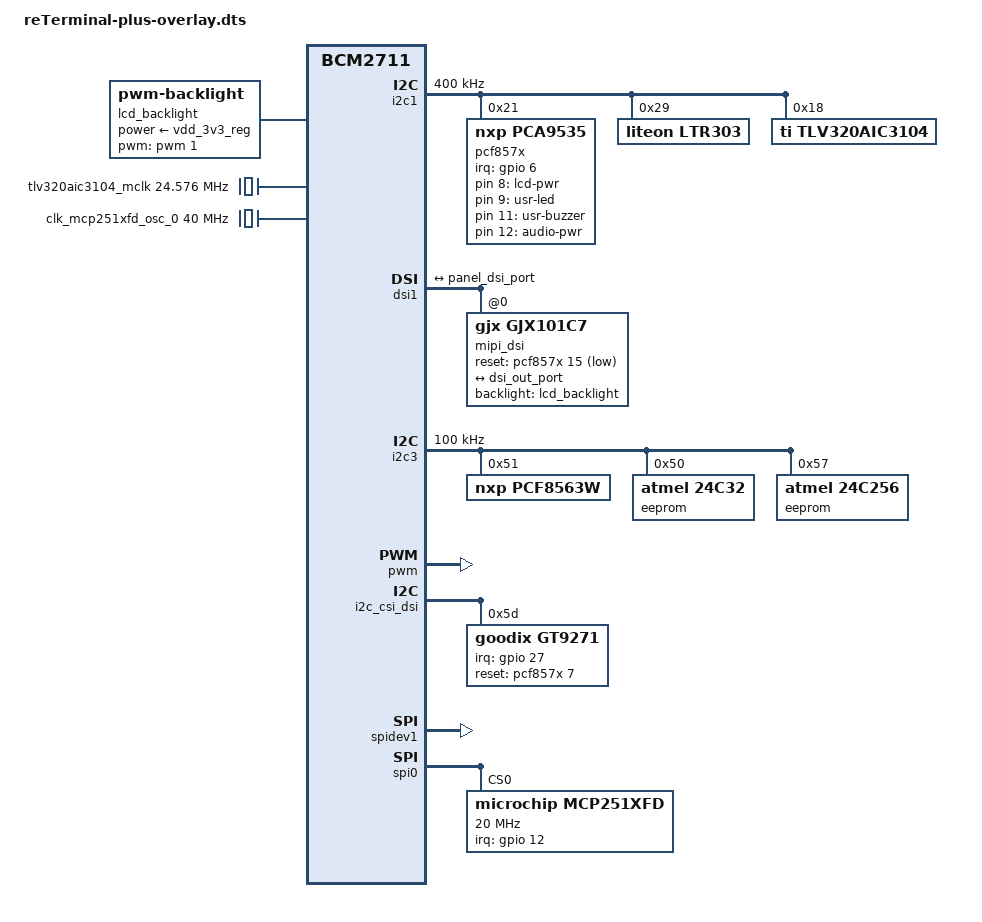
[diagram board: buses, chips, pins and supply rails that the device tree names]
/*
 * Copyright (C) 2021 Seeed Studio
 * Zhangqun Ming <north_sea@qq.com>
 *
 * MIT License
 *
 */
/dts-v1/;
/plugin/;

/ {
    compatible = "brcm,bcm2835", "brcm,bcm2708", "brcm,bcm2709", "brcm,bcm2711";

    fragment@0 {
        target-path="/";
        __overlay__ {
            hardware = "reTerminal plus V1.0";
        };
    };

	fragment@1 {
		target = <&i2c1>;
		__overlay__ {
			status = "okay";

			/* this is the configuration part */
			clock-frequency = <400000>;

			#address-cells = <1>;
			#size-cells = <0>;
			
			pcf857x: pcf@21 {
				compatible = "nxp,pca9535";
				reg = <0x21>;
				status = "okay";

				gpio-controller;
				#gpio-cells = <2>;
				#interrupt-cells=<2>;
				interrupt-parent = <&gpio>;
				interrupts = <6 2>; /* IRQ_TYPE_EDGE_FALLING */
				interrupt-controller;
			};

			ltr303@29 {
				compatible = "liteon,ltr303";
				reg = <0x29>;
				status = "okay";
			};
			
		};
	};
	
	fragment@2 {
		target = <&gpio>;
		__overlay__ {

			pcf857x_pins: pcf857x_pins@21 {
				brcm,pins = <6>;     /* gpio number */
				brcm,function = <0>; /* 0 = input, 1 = output */
				brcm,pull = <2>;     /* 0 = none, 1 = pull down, 2 = pull up */
			};

			pwm_pins: pwm_pins {
				brcm,pins = <13>;
				brcm,function = <4>; // ALT0
			};

			tp_int_pin: tp_int_pin {
				brcm,pins = <27>;     /* gpio number */
				brcm,function = <0>; /* 0 = input, 1 = output */
				brcm,pull = <0>;     /* 0 = none, 1 = pull down, 2 = pull up */
			};
		};
	};

	fragment@4 {
		target = <&dsi1>;
		__overlay__ {
			#address-cells = <1>;
			#size-cells = <0>;
			status = "okay";

			port {
				dsi_out_port: endpoint {
					remote-endpoint = <&panel_dsi_port>;
				};
			};
			mipi_dsi: mipi_dsi@45 {
				compatible = "gjx,gjx101c7";
				reg = <0>;

				backlight = <&lcd_backlight>;
				reset-gpios=<&pcf857x 15 1>;

				port {
					panel_dsi_port: endpoint {
						remote-endpoint = <&dsi_out_port>;
					};
				};
			};
		};
	};

	fragment@5 {
		target = <&i2c3>;
		__overlay__ {
			status = "okay";

			/* this is the configuration part */
			clock-frequency = <100000>;

			#address-cells = <1>;
			#size-cells = <0>;
			
			pcf8563w@51 {
				compatible = "nxp,pcf8563w";
				reg = <0x51>;
				reset-source;
				/* 0 = 4096Hz, 1 = 64Hz, 2 = 1Hz, 3 = 1/60Hz */
				timer-frequency = <0x02>;
				/* Timeout count, max 255 min 2*/
				default-timeout =  <120>;
				min-hw-heartbeat-ms = <2000>;
			};
			
			eeprom@50 {
				compatible = "atmel,24c32";
				reg = <0x50>;
			};

			eeprom@57 {
				compatible = "atmel,24c256";
				reg = <0x57>;
			};
		};
	};

	fragment@6 {
		target = <&leds>;
		__overlay__ {
			compatible = "gpio-leds";

                        lcd_pwr_en: lcd_pwr_en {
                                label = "lcd-pwr";
                                linux,default-trigger = "default-off";
                                gpios = <&pcf857x 8 0>;
                                default-state = "on";
                        };

			usr_led10: usr_led10 {
				label = "usr-led";
				linux,default-trigger = "default-off";
				gpios = <&pcf857x 9 0>;
				default-state = "off";
			};

			usr_buzzer: usr_buzzer {
				label = "usr-buzzer";
				linux,default-trigger = "default-off";
				gpios = <&pcf857x 11 0>;
				default-state = "off";
			};

			audio_pwr_en: audio_pwr_en {
					label = "audio-pwr";
					linux,default-trigger = "default-off";
					gpios = <&pcf857x 12 0>; /* Enable Audio power (AUDIO_PWR_EN ) */
					default-state = "on";
			};
		};
	};

	fragment@7 {
			target = <&pwm>;
			frag1: __overlay__ {
					pinctrl-names = "default";
					pinctrl-0 = <&pwm_pins>;
					assigned-clock-rates = <1000000>;
					status = "okay";
			};
	};

	fragment@8 {
			target-path = "/";
			__overlay__ {
					lcd_backlight: lcd_backlight {
							compatible = "pwm-backlight";
							brightness-levels = <96 128 160 192 224 255>;
							default-brightness-level = <4>;
							pwms = <&pwm 1 200000 0>;
							power-supply = <&vdd_3v3_reg>;
							status = "okay";
					};
			};
	};

	fragment@9 {
		target = <&i2c_csi_dsi>; // The TP and CSI shared with the same I2C0 bus.
		__overlay__ {
			#address-cells = <1>;
			#size-cells = <0>;
			status = "okay";

			 gt9271: gt9271@5d {
				compatible = "goodix,gt9271";
				reg = <0x5d>;
				pinctrl-names = "default";
				pinctrl-0 = <&tp_int_pin>;
				interrupt-parent = <&gpio>;
				interrupts = <27 2>; // high-to-low edge triggered
				irq-gpios = <&gpio 27 0>;
				reset-gpios = <&pcf857x 7 0>;
				touchscreen-inverted-y;
				touchscreen-swapped-x-y;
			};
		};
	};

	fragment@a {
			target = <&spidev1>;
			__overlay__ {
					status = "okay";
			};
	};

	fragment@a1 {
			target = <&spidev0>;
			__overlay__ {
					status = "disabled";
			};
	};

	fragment@b {
			target = <&gpio>;
			__overlay__ {
					mcp251xfd_pins_0: mcp251xfd_spi0_0_pins {
							brcm,pins = <12>;
							brcm,function = <0>;//BCM2835_FSEL_GPIO_IN 
					};
			};
	};
	
	fragment@c {
			target-path = "/clocks";
			__overlay__ {
					clk_mcp251xfd_osc_0: mcp251xfd-spi0-0-osc {
							#clock-cells = <0>;
							compatible = "fixed-clock";
							clock-frequency = <40000000>;
					};
			};
	};
	fragment@d {
			target = <&spi0>;
			__overlay__ {
					status = "okay";
					#address-cells = <1>;
					#size-cells = <0>;
					mcp251xfd@0 {
							compatible = "microchip,mcp251xfd";
							reg = <0>;
							pinctrl-names = "default";
							pinctrl-0 = <&mcp251xfd_pins_0>;
							spi-max-frequency = <20000000>;
							interrupt-parent = <&gpio>;
							interrupts = <12 8>;//IRQ_TYPE_LEVEL_LOW 
							clocks = <&clk_mcp251xfd_osc_0>;
					};
			};
	};

	fragment@e {
		target-path="/";
		__overlay__ {

			tlv320aic3104_mclk: tlv320aic3104_mclk {
					#clock-cells = <0>;
					compatible = "fixed-clock";
					clock-frequency = <24576000>;
			};
		};
	};

	fragment@f {
		target = <&i2c1>;
		__overlay__ {
			#address-cells = <1>;
			#size-cells = <0>;
			clock-frequency = <400000>;
			status = "okay";

			tlv320aic3104: tlv320aic3104@18 {
					#sound-dai-cells = <0>;
					compatible = "ti,tlv320aic3104";
					reg = <0x18>;
					//reset-gpios = <&pcf857x 13 0>;
					ai3x-micbias-vg = <2>; // set MICBIAS to 2.5v
			};
		};
	};

	fragment@10 {
		target = <&sound>;
		slave_overlay: __overlay__ {
			compatible = "simple-audio-card";
			simple-audio-card,format = "dsp_b";
			simple-audio-card,name = "seeed2micvoicec";
			status = "okay";

			simple-audio-card,widgets =
					"Headphone", "Headphone Jack",
					"Line", "Line In";
			simple-audio-card,routing =
					"Headphone Jack",       "HPLOUT",
					"Headphone Jack",       "HPROUT",
					"LINE1L",               "Line In",
					"LINE1R",               "Line In";
			simple-audio-card,bitclock-inversion;
			
			simple-audio-card,cpu {
					sound-dai = <&i2s>;
			};
			sound_master: simple-audio-card,codec {
							#sound-dai-cells = <0>;
							sound-dai = <&tlv320aic3104>;
							clocks = <&tlv320aic3104_mclk>;
							clock-names = "mclk";
			};
		};
	};

	__overrides__ {
	};
};

